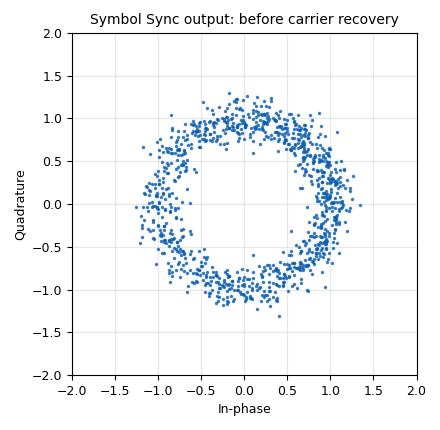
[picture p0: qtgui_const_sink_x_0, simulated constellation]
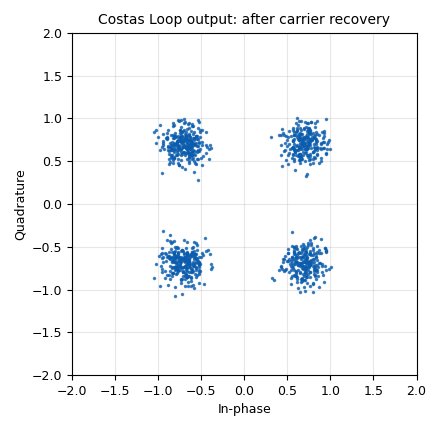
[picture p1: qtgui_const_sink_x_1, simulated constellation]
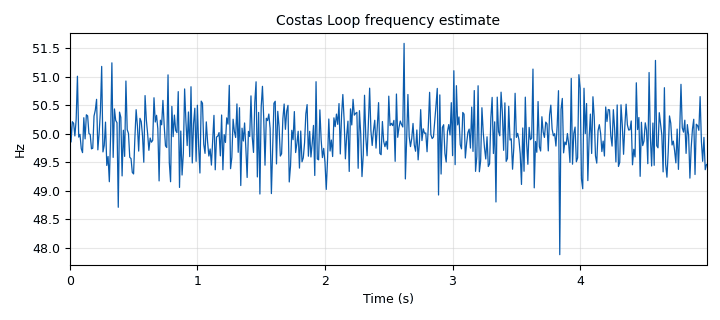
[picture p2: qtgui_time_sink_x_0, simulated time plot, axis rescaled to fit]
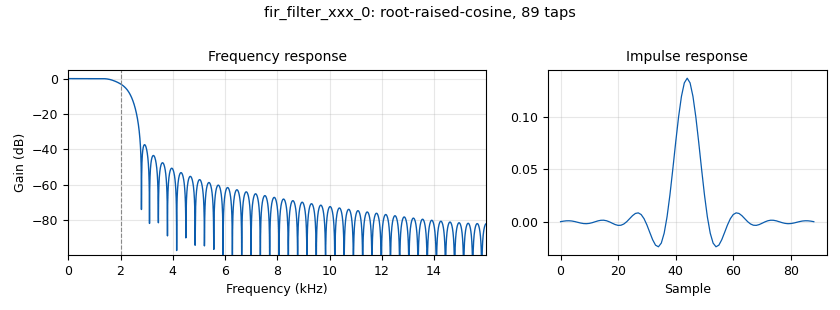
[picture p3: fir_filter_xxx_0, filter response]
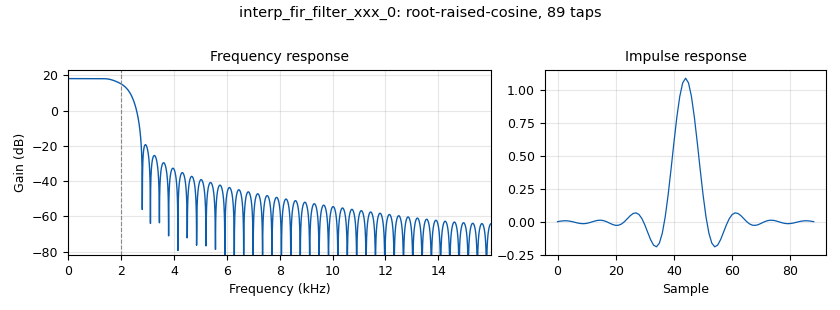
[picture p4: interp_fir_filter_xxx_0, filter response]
options:
  parameters:
    author: ECE 448
    description: 'L15: a line of ASCII text in packets over an RRC M-PSK link (M = 2, 4, or 8), with differential coding, through a channel with noise, frequency offset, phase, and clock error, then a matched filter, Symbol Sync, a Costas Loop, and a constellation decoder. Change M and run again; move the sliders until the text breaks.'
    generate_options: qt_gui
    id: L15_psk_link
    output_language: python
    title: L15 - mPSK Link
  states: {}

blocks:
- name: M
  id: variable
  parameters:
    comment: 2, 4, or 8; run again after changing it
    value: '4'
  states: {}
- name: alpha
  id: variable
  parameters:
    value: '0.35'
  states: {}
- name: const
  id: variable
  parameters:
    value: digital.constellation_calcdist(pts, list(range(M)), M, 1).base()
  states: {}
- name: costas_bw
  id: variable
  parameters:
    value: '0.02'
  states: {}
- name: diff
  id: variable_qtgui_chooser
  parameters:
    gui_hint: 1,1,1,2
    label: Differential coding
    label0: 'On'
    label1: 'Off'
    num_opts: '2'
    option0: '1'
    option1: '0'
    orient: Qt.QHBoxLayout
    type: int
    value: '1'
    widget: radio_buttons
  states: {}
- name: ebn0
  id: variable_qtgui_range
  parameters:
    gui_hint: 0,0,1,1
    label: Eb/N0 (dB)
    start: '0'
    step: '0.5'
    stop: '20'
    value: '12'
  states: {}
- name: foff
  id: variable_qtgui_range
  parameters:
    gui_hint: 0,1,1,1
    label: Frequency offset (Hz)
    start: '-500'
    step: '10'
    stop: '500'
    value: '50'
  states: {}
- name: gray
  id: variable
  parameters:
    value: '[i ^ (i >> 1) for i in range(M)]'
  states: {}
- name: hdr
  id: variable
  parameters:
    value: digital.header_format_default(digital.packet_utils.default_access_code, 0)
  states: {}
- name: k
  id: variable
  parameters:
    value: int(math.log2(M))
  states: {}
- name: msg
  id: variable
  parameters:
    value: '''USAFA ECE 448: ASCII over mPSK.'''
  states: {}
- name: phase
  id: variable_qtgui_range
  parameters:
    gui_hint: 0,2,1,1
    label: Channel phase (deg)
    start: '0'
    step: '10'
    stop: '350'
    value: '0'
  states: {}
- name: ppm
  id: variable_qtgui_range
  parameters:
    gui_hint: 1,0,1,1
    label: Clock error (ppm)
    start: '0'
    step: '50'
    stop: '2000'
    value: '100'
  states: {}
- name: pts
  id: variable
  parameters:
    value: '[cmath.exp(1j*((0 if M == 2 else math.pi/M) + 2*math.pi*i/M)) for i in range(M)]'
  states: {}
- name: rx_label
  id: variable_qtgui_label
  parameters:
    formatter: 'lambda x: '':  '' + x'
    gui_hint: 3,0,1,3
    label: Received
    type: string
    value: rx_text
  states: {}
- name: rx_stats
  id: variable_function_probe
  parameters:
    block_id: epy_block_0
    function_name: stats
    poll_rate: '2'
    value: ''''''
  states: {}
- name: rx_taps
  id: variable
  parameters:
    value: firdes.root_raised_cosine(1.0, samp_rate, samp_rate/sps, alpha, 11*sps)
  states: {}
- name: rx_text
  id: variable_function_probe
  parameters:
    block_id: epy_block_0
    function_name: last_line
    poll_rate: '4'
    value: '''(waiting for a packet)'''
  states: {}
- name: samp_rate
  id: variable
  parameters:
    value: '32000'
  states: {}
- name: sigma
  id: variable
  parameters:
    value: math.sqrt(sps/(k*10**(ebn0/10)))
  states: {}
- name: sps
  id: variable
  parameters:
    value: '8'
  states: {}
- name: stats_label
  id: variable_qtgui_label
  parameters:
    formatter: 'lambda x: '':  '' + x'
    gui_hint: 4,0,1,3
    label: Lines
    type: string
    value: rx_stats
  states: {}
- name: tx_taps
  id: variable
  parameters:
    value: firdes.root_raised_cosine(sps, samp_rate, samp_rate/sps, alpha, 11*sps)
  states: {}
- name: ungray
  id: variable
  parameters:
    value: '[gray.index(b) for b in range(M)]'
  states: {}
- name: blocks_keep_one_in_n_0
  id: blocks_keep_one_in_n
  parameters:
    n: '40'
    type: float
  states: {}
- name: blocks_multiply_const_vxx_0
  id: blocks_multiply_const_vxx
  parameters:
    comment: rad/symbol to Hz
    const: samp_rate/sps/(2*math.pi)
    type: float
  states: {}
- name: blocks_repack_bits_bb_0
  id: blocks_repack_bits_bb
  parameters:
    endianness: gr.GR_MSB_FIRST
    k: '8'
    l: k
  states: {}
- name: blocks_repack_bits_bb_1
  id: blocks_repack_bits_bb
  parameters:
    endianness: gr.GR_MSB_FIRST
    k: k
    l: '1'
  states: {}
- name: blocks_repack_bits_bb_2
  id: blocks_repack_bits_bb
  parameters:
    align_output: 'True'
    endianness: gr.GR_MSB_FIRST
    k: '1'
    l: '8'
    len_tag_key: '"packet_len"'
  states: {}
- name: blocks_selector_0
  id: blocks_selector
  parameters:
    enabled: 'True'
    input_index: diff
    num_inputs: '2'
    num_outputs: '1'
    output_index: '0'
    type: byte
  states: {}
- name: blocks_selector_1
  id: blocks_selector
  parameters:
    enabled: 'True'
    input_index: diff
    num_inputs: '2'
    num_outputs: '1'
    output_index: '0'
    type: byte
  states: {}
- name: blocks_stream_to_tagged_stream_0
  id: blocks_stream_to_tagged_stream
  parameters:
    len_tag_key: '"packet_len"'
    packet_len: len(msg) + 1
    type: byte
  states: {}
- name: blocks_tagged_stream_mux_0
  id: blocks_tagged_stream_mux
  parameters:
    lengthtagname: '"packet_len"'
    ninputs: '2'
    type: byte
  states: {}
- name: blocks_throttle2_0
  id: blocks_throttle2
  parameters:
    samples_per_second: samp_rate/sps
    type: complex
  states: {}
- name: blocks_vector_source_x_0
  id: blocks_vector_source_x
  parameters:
    repeat: 'True'
    type: byte
    vector: list(msg.encode()) + [10]
  states: {}
- name: channels_channel_model_0
  id: channels_channel_model
  parameters:
    epsilon: 1 + ppm*1e-6
    freq_offset: foff/samp_rate
    noise_voltage: sigma
    seed: '0'
    taps: '[cmath.exp(1j*math.radians(phase))]'
  states: {}
- name: digital_chunks_to_symbols_xx_0
  id: digital_chunks_to_symbols_xx
  parameters:
    dimension: '1'
    in_type: byte
    out_type: complex
    symbol_table: pts
  states: {}
- name: digital_constellation_decoder_cb_0
  id: digital_constellation_decoder_cb
  parameters:
    constellation: const
  states: {}
- name: digital_correlate_access_code_xx_ts_0
  id: digital_correlate_access_code_xx_ts
  parameters:
    access_code: digital.packet_utils.default_access_code
    tagname: '"packet_len"'
    threshold: '2'
    type: byte
  states: {}
- name: digital_costas_loop_cc_0
  id: digital_costas_loop_cc
  parameters:
    order: M
    w: costas_bw
  states: {}
- name: digital_diff_decoder_bb_0
  id: digital_diff_decoder_bb
  parameters:
    coding: digital.DIFF_DIFFERENTIAL
    modulus: M
  states: {}
- name: digital_diff_encoder_bb_0
  id: digital_diff_encoder_bb
  parameters:
    coding: digital.DIFF_DIFFERENTIAL
    modulus: M
  states: {}
- name: digital_map_bb_0
  id: digital_map_bb
  parameters:
    map: ungray
  states: {}
- name: digital_map_bb_1
  id: digital_map_bb
  parameters:
    map: gray
  states: {}
- name: digital_protocol_formatter_bb_0
  id: digital_protocol_formatter_bb
  parameters:
    format: hdr
    len_tag_key: '"packet_len"'
  states: {}
- name: digital_symbol_sync_xx_0
  id: digital_symbol_sync_xx
  parameters:
    damping: '1.0'
    loop_bw: '0.045'
    max_dev: '1.5'
    osps: '1'
    resamp_type: digital.IR_MMSE_8TAP
    sps: sps
    ted_gain: '1.0'
    ted_type: digital.TED_GARDNER
    type: cc
  states: {}
- name: epy_block_0
  id: epy_block
  parameters:
    _source_code: |
      """Text Sink: shows each received packet as a line of text, counts the lines
      that match the transmitted message, and counts the bit errors in every line
      of the right length (the BER). The counts restart whenever a slider moves,
      because GRC sets `settings` each time one of the settings it names changes.
      Function Probes read last_line() and stats() for the QT GUI Labels."""

      import time

      import numpy as np
      import pmt
      from gnuradio import gr


      class blk(gr.sync_block):
          def __init__(self, expected='', settings=None):
              gr.sync_block.__init__(self, name='Text Sink', in_sig=[np.uint8], out_sig=None)
              self.expected = expected
              self.ref = np.frombuffer((expected + '\n').encode(), dtype=np.uint8)
              self.key = pmt.intern('packet_len')
              self.buf = []
              self.line = '(waiting for a packet)'
              self.settings = settings

          @property
          def settings(self):
              return self._settings

          @settings.setter
          def settings(self, value):
              self._settings = value
              self.good = 0
              self.total = 0
              self.errors = 0
              self.bits = 0
              self.t0 = time.monotonic()

          def work(self, input_items, output_items):
              data = input_items[0]
              start = self.nitems_read(0)
              # Each packet starts with a packet_len tag, so a corrupted newline
              # cannot run two packets together.
              marks = {t.offset - start for t in self.get_tags_in_window(0, 0, len(data), self.key)}
              for i, b in enumerate(data):
                  if i in marks and self.buf:
                      self.finish()
                  self.buf.append(int(b))
              return len(data)

          def finish(self):
              rx = np.array(self.buf, dtype=np.uint8)
              text = ''.join(chr(b) if 32 <= b < 127 or b == 10 else '?' for b in rx)
              self.line = text[:-1] if text.endswith('\n') else text
              self.total += 1
              self.good += text == self.expected + '\n'
              if len(rx) == len(self.ref):
                  self.errors += int(np.unpackbits(rx ^ self.ref).sum())
                  self.bits += 8 * len(rx)
              self.buf = []

          def last_line(self):
              return self.line

          def stats(self):
              ber = f'{self.errors / self.bits:.1e}' if self.bits else '-'
              return (f'{self.good} correct of {self.total} received in {time.monotonic() - self.t0:.0f} s;  '
                      f'BER {ber} ({self.errors} errors in {self.bits} bits)')
    expected: msg
    settings: (ebn0, foff, phase, ppm, diff)
  states: {}
- name: fir_filter_xxx_0
  id: fir_filter_xxx
  parameters:
    decim: '1'
    taps: rx_taps
    type: ccf
  states: {}
- name: import_0
  id: import
  parameters:
    imports: import math, cmath
  states: {}
- name: interp_fir_filter_xxx_0
  id: interp_fir_filter_xxx
  parameters:
    interp: sps
    taps: tx_taps
    type: ccf
  states: {}
- name: qtgui_const_sink_x_0
  id: qtgui_const_sink_x
  parameters:
    grid: 'True'
    gui_hint: 2,0,1,1
    legend: 'False'
    name: '"Symbol Sync output: before carrier recovery"'
    size: '1024'
    type: complex
  states: {}
- name: qtgui_const_sink_x_1
  id: qtgui_const_sink_x
  parameters:
    grid: 'True'
    gui_hint: 2,1,1,1
    legend: 'False'
    name: '"Costas Loop output: after carrier recovery"'
    size: '1024'
    type: complex
  states: {}
- name: qtgui_time_sink_x_0
  id: qtgui_time_sink_x
  parameters:
    entags: 'False'
    grid: 'True'
    gui_hint: 2,2,1,1
    legend: 'False'
    name: '"Costas Loop frequency estimate"'
    size: '500'
    srate: samp_rate/sps/40
    type: float
    ylabel: '"Hz"'
    ymax: '500'
    ymin: '-500'
  states: {}

connections:
- [blocks_keep_one_in_n_0, '0', qtgui_time_sink_x_0, '0']
- [blocks_multiply_const_vxx_0, '0', blocks_keep_one_in_n_0, '0']
- [blocks_repack_bits_bb_0, '0', digital_map_bb_0, '0']
- [blocks_repack_bits_bb_1, '0', digital_correlate_access_code_xx_ts_0, '0']
- [blocks_repack_bits_bb_2, '0', epy_block_0, '0']
- [blocks_selector_0, '0', digital_chunks_to_symbols_xx_0, '0']
- [blocks_selector_1, '0', digital_map_bb_1, '0']
- [blocks_stream_to_tagged_stream_0, '0', blocks_tagged_stream_mux_0, '1']
- [blocks_stream_to_tagged_stream_0, '0', digital_protocol_formatter_bb_0, '0']
- [blocks_tagged_stream_mux_0, '0', blocks_repack_bits_bb_0, '0']
- [blocks_throttle2_0, '0', interp_fir_filter_xxx_0, '0']
- [blocks_vector_source_x_0, '0', blocks_stream_to_tagged_stream_0, '0']
- [channels_channel_model_0, '0', fir_filter_xxx_0, '0']
- [digital_chunks_to_symbols_xx_0, '0', blocks_throttle2_0, '0']
- [digital_constellation_decoder_cb_0, '0', blocks_selector_1, '0']
- [digital_constellation_decoder_cb_0, '0', digital_diff_decoder_bb_0, '0']
- [digital_correlate_access_code_xx_ts_0, '0', blocks_repack_bits_bb_2, '0']
- [digital_costas_loop_cc_0, '0', digital_constellation_decoder_cb_0, '0']
- [digital_costas_loop_cc_0, '0', qtgui_const_sink_x_1, '0']
- [digital_costas_loop_cc_0, '1', blocks_multiply_const_vxx_0, '0']
- [digital_diff_decoder_bb_0, '0', blocks_selector_1, '1']
- [digital_diff_encoder_bb_0, '0', blocks_selector_0, '1']
- [digital_map_bb_0, '0', blocks_selector_0, '0']
- [digital_map_bb_0, '0', digital_diff_encoder_bb_0, '0']
- [digital_map_bb_1, '0', blocks_repack_bits_bb_1, '0']
- [digital_protocol_formatter_bb_0, '0', blocks_tagged_stream_mux_0, '0']
- [digital_symbol_sync_xx_0, '0', digital_costas_loop_cc_0, '0']
- [digital_symbol_sync_xx_0, '0', qtgui_const_sink_x_0, '0']
- [fir_filter_xxx_0, '0', digital_symbol_sync_xx_0, '0']
- [interp_fir_filter_xxx_0, '0', channels_channel_model_0, '0']

metadata:
  file_format: 1
  grc_version: 3.10.9.2
